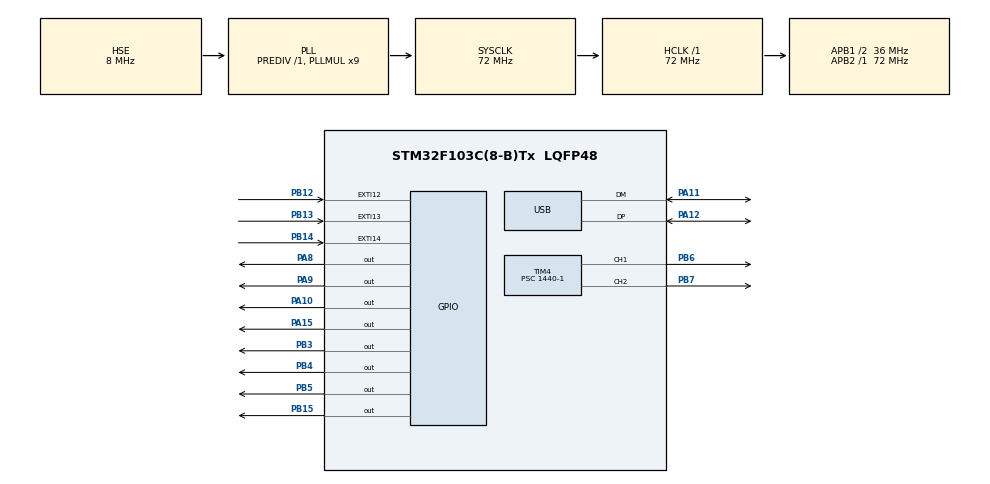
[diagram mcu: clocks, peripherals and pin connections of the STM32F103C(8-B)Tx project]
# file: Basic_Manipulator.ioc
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Mcu.Family=STM32F1
Mcu.Name=STM32F103C(8-B)Tx
Mcu.Package=LQFP48
NVIC.EXTI15_10_IRQn=true\:0\:0\:false\:false\:true\:true\:true\:true
NVIC.PriorityGroup=NVIC_PRIORITYGROUP_4
NVIC.TIM3_IRQn=true\:0\:0\:false\:false\:true\:true\:true\:true
NVIC.TIM4_IRQn=true\:0\:0\:false\:false\:true\:true\:true\:true
NVIC.USB_LP_CAN1_RX0_IRQn=true\:0\:0\:false\:false\:true\:false\:true\:true
PA10.GPIO_PuPd=GPIO_PULLDOWN
PA10.Signal=GPIO_Output
PA11.Mode=Device
PA11.Signal=USB_DM
PA12.Mode=Device
PA12.Signal=USB_DP
PA13.Mode=Serial_Wire
PA13.Signal=SYS_JTMS-SWDIO
PA14.Mode=Serial_Wire
PA14.Signal=SYS_JTCK-SWCLK
PA15.Signal=GPIO_Output
PA8.Signal=GPIO_Output
PA9.GPIO_PuPd=GPIO_PULLDOWN
PA9.Signal=GPIO_Output
PB12.GPIO_ModeDefaultEXTI=GPIO_MODE_IT_FALLING
PB12.GPIO_PuPd=GPIO_PULLUP
PB12.Signal=GPXTI12
PB13.GPIO_ModeDefaultEXTI=GPIO_MODE_IT_FALLING
PB13.GPIO_PuPd=GPIO_PULLUP
PB13.Signal=GPXTI13
PB14.GPIO_ModeDefaultEXTI=GPIO_MODE_IT_FALLING
PB14.GPIO_PuPd=GPIO_PULLUP
PB14.Signal=GPXTI14
PB15.Signal=GPIO_Output
PB3.Signal=GPIO_Output
PB4.Signal=GPIO_Output
PB5.Signal=GPIO_Output
PB6.Signal=S_TIM4_CH1
PB7.Signal=S_TIM4_CH2
PD0-OSC_IN.Mode=HSE-External-Oscillator
PD0-OSC_IN.Signal=RCC_OSC_IN
PD1-OSC_OUT.Mode=HSE-External-Oscillator
PD1-OSC_OUT.Signal=RCC_OSC_OUT
ProjectManager.HeapSize=0x200
ProjectManager.StackSize=0x400
ProjectManager.TargetToolchain=Makefile
RCC.AHBFreq_Value=72000000
RCC.APB1CLKDivider=RCC_HCLK_DIV2
RCC.APB1Freq_Value=36000000
RCC.APB1TimFreq_Value=72000000
RCC.APB2Freq_Value=72000000
RCC.APB2TimFreq_Value=72000000
RCC.EnbaleCSS=true
RCC.HCLKFreq_Value=72000000
RCC.PLLMUL=RCC_PLL_MUL9
RCC.PLLSourceVirtual=RCC_PLLSOURCE_HSE
RCC.SYSCLKFreq_VALUE=72000000
RCC.SYSCLKSource=RCC_SYSCLKSOURCE_PLLCLK
RCC.USBFreq_Value=48000000
RCC.USBPrescaler=RCC_USBCLKSOURCE_PLL_DIV1_5
SH.S_TIM4_CH1.0=TIM4_CH1,PWM Generation1 CH1
SH.S_TIM4_CH2.0=TIM4_CH2,PWM Generation2 CH2
TIM3.Period=25
TIM3.Prescaler=144
TIM4.Channel-PWM\ Generation1\ CH1=TIM_CHANNEL_1
TIM4.Channel-PWM\ Generation2\ CH2=TIM_CHANNEL_2
TIM4.Period=1000-1
TIM4.Prescaler=1440-1
USB_DEVICE.CLASS_NAME_FS=CDC
USB_DEVICE.PRODUCT_STRING_CDC_FS=Manipulator
USB_DEVICE.VirtualMode=Cdc
USB_DEVICE.VirtualModeFS=Cdc_FS
VP_TIM3_VS_ClockSourceINT.Mode=Internal
VP_USB_DEVICE_VS_USB_DEVICE_CDC_FS.Mode=CDC_FS
board=custom

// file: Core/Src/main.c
/* USER CODE BEGIN Header */
/**
  ******************************************************************************
  * @file           : main.c
  * @brief          : Main program body
  ******************************************************************************
  * @attention
  *
  * Copyright (c) 2024 STMicroelectronics.
  * All rights reserved.
  *
  * This software is licensed under terms that can be found in the LICENSE file
  * in the root directory of this software component.
  * If no LICENSE file comes with this software, it is provided AS-IS.
  *
  ******************************************************************************
  */
/* USER CODE END Header */
#include "main.h"
#include "usb_device.h"

/* USER CODE BEGIN Includes */
#include "stepper.h"
/* USER CODE END Includes */

/* USER CODE BEGIN PD */
#define DWT_CONTROL *(volatile unsigned long *)0xE0001000
#define SCB_DEMCR   *(volatile unsigned long *)0xE000EDFC
/* USER CODE END PD */

TIM_HandleTypeDef htim3;
TIM_HandleTypeDef htim4;

void SystemClock_Config(void);
static void MX_GPIO_Init(void);
static void MX_TIM4_Init(void);
static void MX_TIM3_Init(void);

/* USER CODE BEGIN 0 */
  void DWT_Init(void)
{
    SCB_DEMCR |= CoreDebug_DEMCR_TRCENA_Msk; // разрешаем использовать счётчик
    DWT_CONTROL |= DWT_CTRL_CYCCNTENA_Msk;   // запускаем счётчик
}

void us_delay(uint32_t us)
{
    uint32_t us_count_tic =  us * (SystemCoreClock / 1000000); // получаем кол-во тактов за 1 мкс и умножаем на наше значение
    DWT->CYCCNT = 0U; // обнуляем счётчик
    while(DWT->CYCCNT < us_count_tic);
}
/* USER CODE END 0 */

int main(void)
{

  /* MCU Configuration--------------------------------------------------------*/

  /* Reset of all peripherals, Initializes the Flash interface and the Systick. */
  HAL_Init();

  /* Configure the system clock */
  SystemClock_Config();

  /* USER CODE BEGIN SysInit */
  DWT_Init();
  /* USER CODE END SysInit */

  /* Initialize all configured peripherals */
  MX_GPIO_Init();
  MX_TIM4_Init();
  MX_USB_DEVICE_Init();
  MX_TIM3_Init();
  /* USER CODE BEGIN 2 */
  HAL_TIM_PWM_Start(&htim4, TIM_CHANNEL_1);/*Даём разрешение на работу Ш�?М таймера*/
  HAL_TIM_PWM_Start(&htim4, TIM_CHANNEL_2);

  HAL_GPIO_DeInit(GPIOB, GPIO_PIN_12);
   HAL_GPIO_DeInit(GPIOB, GPIO_PIN_13);
    HAL_GPIO_DeInit(GPIOB, GPIO_PIN_14);
  take_object(-90, 170, 10);

  /* USER CODE END 2 */

  /* Infinite loop */
  while (1)
  {

  }
}

void SystemClock_Config(void)
{
  RCC_OscInitTypeDef RCC_OscInitStruct = {0};
  RCC_ClkInitTypeDef RCC_ClkInitStruct = {0};
  RCC_PeriphCLKInitTypeDef PeriphClkInit = {0};

  /** Initializes the RCC Oscillators according to the specified parameters
  * in the RCC_OscInitTypeDef structure.
  */
  RCC_OscInitStruct.OscillatorType = RCC_OSCILLATORTYPE_HSE;
  RCC_OscInitStruct.HSEState = RCC_HSE_ON;
  RCC_OscInitStruct.HSEPredivValue = RCC_HSE_PREDIV_DIV1;
  RCC_OscInitStruct.HSIState = RCC_HSI_ON;
  RCC_OscInitStruct.PLL.PLLState = RCC_PLL_ON;
  RCC_OscInitStruct.PLL.PLLSource = RCC_PLLSOURCE_HSE;
  RCC_OscInitStruct.PLL.PLLMUL = RCC_PLL_MUL9;
  if (HAL_RCC_OscConfig(&RCC_OscInitStruct) != HAL_OK)
  {
    Error_Handler();
  }

  /** Initializes the CPU, AHB and APB buses clocks
  */
  RCC_ClkInitStruct.ClockType = RCC_CLOCKTYPE_HCLK|RCC_CLOCKTYPE_SYSCLK
                              |RCC_CLOCKTYPE_PCLK1|RCC_CLOCKTYPE_PCLK2;
  RCC_ClkInitStruct.SYSCLKSource = RCC_SYSCLKSOURCE_PLLCLK;
  RCC_ClkInitStruct.AHBCLKDivider = RCC_SYSCLK_DIV1;
  RCC_ClkInitStruct.APB1CLKDivider = RCC_HCLK_DIV2;
  RCC_ClkInitStruct.APB2CLKDivider = RCC_HCLK_DIV1;

  if (HAL_RCC_ClockConfig(&RCC_ClkInitStruct, FLASH_LATENCY_2) != HAL_OK)
  {
    Error_Handler();
  }
  PeriphClkInit.PeriphClockSelection = RCC_PERIPHCLK_USB;
  PeriphClkInit.UsbClockSelection = RCC_USBCLKSOURCE_PLL_DIV1_5;
  if (HAL_RCCEx_PeriphCLKConfig(&PeriphClkInit) != HAL_OK)
  {
    Error_Handler();
  }

  /** Enables the Clock Security System
  */
  HAL_RCC_EnableCSS();
}

static void MX_TIM3_Init(void)
{

  TIM_ClockConfigTypeDef sClockSourceConfig = {0};
  TIM_MasterConfigTypeDef sMasterConfig = {0};

  htim3.Instance = TIM3;
  htim3.Init.Prescaler = 144;
  htim3.Init.CounterMode = TIM_COUNTERMODE_UP;
  htim3.Init.Period = 25;
  htim3.Init.ClockDivision = TIM_CLOCKDIVISION_DIV1;
  htim3.Init.AutoReloadPreload = TIM_AUTORELOAD_PRELOAD_DISABLE;
  if (HAL_TIM_Base_Init(&htim3) != HAL_OK)
  {
    Error_Handler();
  }
  sClockSourceConfig.ClockSource = TIM_CLOCKSOURCE_INTERNAL;
  if (HAL_TIM_ConfigClockSource(&htim3, &sClockSourceConfig) != HAL_OK)
  {
    Error_Handler();
  }
  sMasterConfig.MasterOutputTrigger = TIM_TRGO_RESET;
  sMasterConfig.MasterSlaveMode = TIM_MASTERSLAVEMODE_DISABLE;
  if (HAL_TIMEx_MasterConfigSynchronization(&htim3, &sMasterConfig) != HAL_OK)
  {
    Error_Handler();
  }

}

static void MX_TIM4_Init(void)
{

  TIM_MasterConfigTypeDef sMasterConfig = {0};
  TIM_OC_InitTypeDef sConfigOC = {0};

  htim4.Instance = TIM4;
  htim4.Init.Prescaler = 1440-1;
  htim4.Init.CounterMode = TIM_COUNTERMODE_UP;
  htim4.Init.Period = 1000-1;
  htim4.Init.ClockDivision = TIM_CLOCKDIVISION_DIV1;
  htim4.Init.AutoReloadPreload = TIM_AUTORELOAD_PRELOAD_DISABLE;
  if (HAL_TIM_PWM_Init(&htim4) != HAL_OK)
  {
    Error_Handler();
  }
  sMasterConfig.MasterOutputTrigger = TIM_TRGO_RESET;
  sMasterConfig.MasterSlaveMode = TIM_MASTERSLAVEMODE_DISABLE;
  if (HAL_TIMEx_MasterConfigSynchronization(&htim4, &sMasterConfig) != HAL_OK)
  {
    Error_Handler();
  }
  sConfigOC.OCMode = TIM_OCMODE_PWM1;
  sConfigOC.Pulse = 0;
  sConfigOC.OCPolarity = TIM_OCPOLARITY_HIGH;
  sConfigOC.OCFastMode = TIM_OCFAST_DISABLE;
  if (HAL_TIM_PWM_ConfigChannel(&htim4, &sConfigOC, TIM_CHANNEL_1) != HAL_OK)
  {
    Error_Handler();
  }
  if (HAL_TIM_PWM_ConfigChannel(&htim4, &sConfigOC, TIM_CHANNEL_2) != HAL_OK)
  {
    Error_Handler();
  }
  HAL_TIM_MspPostInit(&htim4);

}

static void MX_GPIO_Init(void)
{
  GPIO_InitTypeDef GPIO_InitStruct = {0};

  /* GPIO Ports Clock Enable */
  __HAL_RCC_GPIOD_CLK_ENABLE();
  __HAL_RCC_GPIOB_CLK_ENABLE();
  __HAL_RCC_GPIOA_CLK_ENABLE();

  /*Configure GPIO pin Output Level */
  HAL_GPIO_WritePin(GPIOB, GPIO_PIN_15|GPIO_PIN_3|GPIO_PIN_4|GPIO_PIN_5, GPIO_PIN_RESET);

  /*Configure GPIO pin Output Level */
  HAL_GPIO_WritePin(GPIOA, GPIO_PIN_8|GPIO_PIN_9|GPIO_PIN_10|GPIO_PIN_15, GPIO_PIN_RESET);

  /*Configure GPIO pins : PB12 PB13 PB14 */
  GPIO_InitStruct.Pin = GPIO_PIN_12|GPIO_PIN_13|GPIO_PIN_14;
  GPIO_InitStruct.Mode = GPIO_MODE_IT_FALLING;
  GPIO_InitStruct.Pull = GPIO_PULLUP;
  HAL_GPIO_Init(GPIOB, &GPIO_InitStruct);

  /*Configure GPIO pins : PB15 PB3 PB4 PB5 */
  GPIO_InitStruct.Pin = GPIO_PIN_15|GPIO_PIN_3|GPIO_PIN_4|GPIO_PIN_5;
  GPIO_InitStruct.Mode = GPIO_MODE_OUTPUT_PP;
  GPIO_InitStruct.Pull = GPIO_NOPULL;
  GPIO_InitStruct.Speed = GPIO_SPEED_FREQ_LOW;
  HAL_GPIO_Init(GPIOB, &GPIO_InitStruct);

  /*Configure GPIO pins : PA8 PA15 */
  GPIO_InitStruct.Pin = GPIO_PIN_8|GPIO_PIN_15;
  GPIO_InitStruct.Mode = GPIO_MODE_OUTPUT_PP;
  GPIO_InitStruct.Pull = GPIO_NOPULL;
  GPIO_InitStruct.Speed = GPIO_SPEED_FREQ_LOW;
  HAL_GPIO_Init(GPIOA, &GPIO_InitStruct);

  /*Configure GPIO pins : PA9 PA10 */
  GPIO_InitStruct.Pin = GPIO_PIN_9|GPIO_PIN_10;
  GPIO_InitStruct.Mode = GPIO_MODE_OUTPUT_PP;
  GPIO_InitStruct.Pull = GPIO_PULLDOWN;
  GPIO_InitStruct.Speed = GPIO_SPEED_FREQ_LOW;
  HAL_GPIO_Init(GPIOA, &GPIO_InitStruct);

  /* EXTI interrupt init*/
  HAL_NVIC_SetPriority(EXTI15_10_IRQn, 0, 0);
  HAL_NVIC_EnableIRQ(EXTI15_10_IRQn);

}

void Error_Handler(void)
{
  __disable_irq();
  while (1)
  {
  }
}
